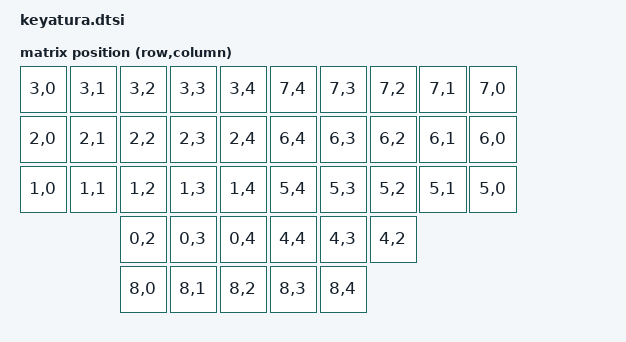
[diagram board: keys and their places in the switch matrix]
#include <dt-bindings/zmk/matrix_transform.h>
#include "keyatura-layouts.dtsi"

/ {
    default_transform: keymap_transform0 {
        compatible = "zmk,matrix-transform";
        columns = <5>;
        rows = <9>;

        map = <
            RC(3,0) RC(3,1) RC(3,2) RC(3,3) RC(3,4) RC(7,4) RC(7,3) RC(7,2) RC(7,1) RC(7,0)
            RC(2,0) RC(2,1) RC(2,2) RC(2,3) RC(2,4) RC(6,4) RC(6,3) RC(6,2) RC(6,1) RC(6,0)
            RC(1,0) RC(1,1) RC(1,2) RC(1,3) RC(1,4) RC(5,4) RC(5,3) RC(5,2) RC(5,1) RC(5,0)
                            RC(0,2) RC(0,3) RC(0,4) RC(4,4) RC(4,3) RC(4,2)
                                RC(8,0) RC(8,1) RC(8,2) RC(8,3) RC(8,4)
        >;
    };

    split_inputs {
        #address-cells = <1>;
        #size-cells = <0>;

        mouse_split: mouse_split@0 {
            compatible = "zmk,input-split";
            reg = <0>;
        };
    };

    mouse_listener: mouse_listener {
        compatible = "zmk,input-listener";
        status = "disabled";
        device = <&mouse_split>;
    };

    m_encoder: m_encoder {
        compatible = "alps,ec11";
		// a-gpios = <&gpio0 9  (GPIO_ACTIVE_LOW | GPIO_PULL_UP)>;
		// b-gpios = <&gpio0 10 (GPIO_ACTIVE_LOW | GPIO_PULL_UP)>;
        steps = <48>;
        status = "disabled";
    };

    sensors: sensors {
        compatible = "zmk,keymap-sensors";
        sensors = <&m_encoder>;
        triggers-per-rotation = <24>;
    };
};
